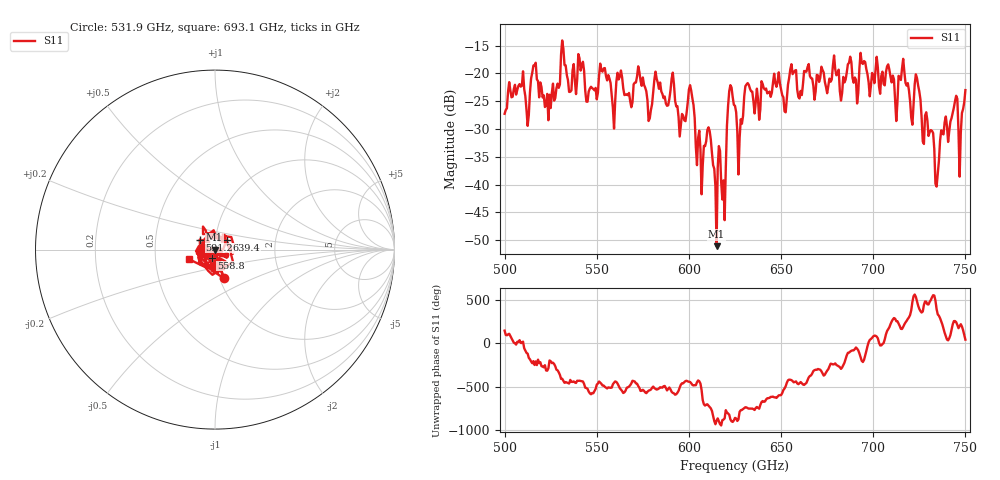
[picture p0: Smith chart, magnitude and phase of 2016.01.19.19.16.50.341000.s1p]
!Created with skrf (http://scikit-rf.org).
# GHz S RI R 50.0
!freq ReS11 ImS11
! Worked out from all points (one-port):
!   401 points, 500 GHz to 750 GHz, reference 50 ohm
!   lowest |S11| = -51.1 dB at 615 GHz (marker M1), VSWR 1.01, Z = 49.7 - j0.0275 ohm
!   |S11| at or under -10 dB: start of sweep to end of sweep
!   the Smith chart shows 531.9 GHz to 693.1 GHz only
!   S11 on the Smith chart (normalised r, x): 531.9 GHz: 1.05, -0.34; 558.8 GHz: 0.96, -0.09; 591.2 GHz: 0.84, +0.09; 639.4 GHz: 1.13, +0.12; 693.1 GHz: 0.75, -0.08
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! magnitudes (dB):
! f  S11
! 500 GHz  -27.3
! 512.5 GHz  -29.4
! 515.6 GHz  -18.6
! 523.8 GHz  -28.4
! 531.2 GHz  -14.1
! 531.9 GHz  -15.5
! 558.8 GHz  -26.2
! 562.5 GHz  -20.6
! 578.8 GHz  -28.1
! 591.2 GHz  -19.9
! 593.8 GHz  -25.9
! 601.2 GHz  -23.1
! 605.6 GHz  -30.3
! 610.6 GHz  -29.7
! 615 GHz  -51.1
! 618.8 GHz  -39.2
! 622.5 GHz  -22.1
! 625 GHz  -25.8
! 627.5 GHz  -31.7
! 631.2 GHz  -22.0
! 639.4 GHz  -21.4
! 656.2 GHz  -20.1
! 687.5 GHz  -17.0
! 693.1 GHz  -16.3
! 718.8 GHz  -21.8
! 724.4 GHz  -22.2
! 734.4 GHz  -40.4
! 750 GHz  -23.0
